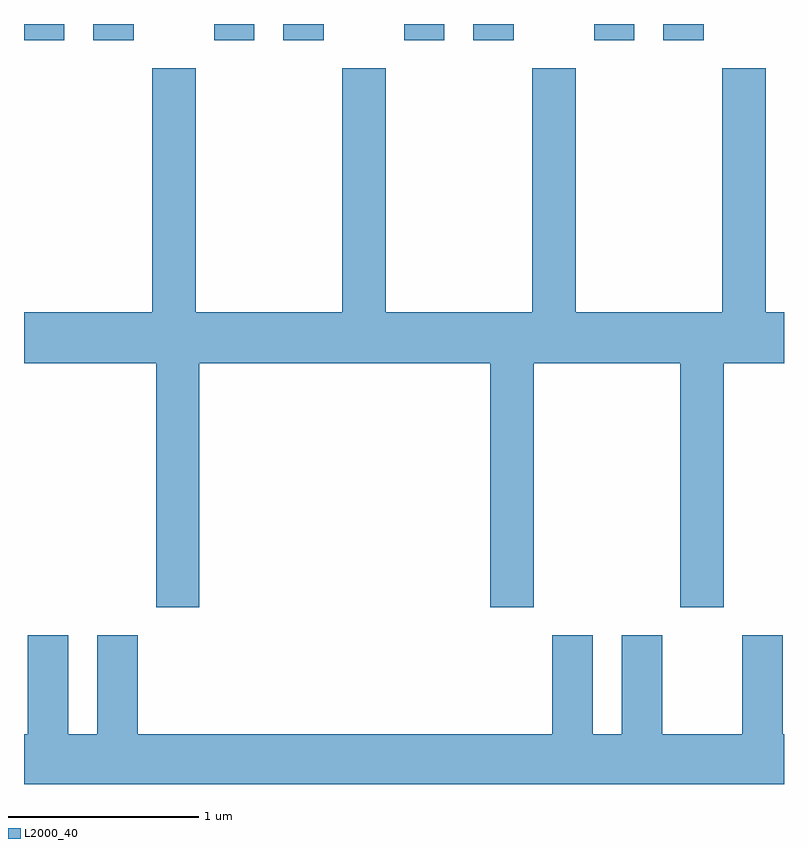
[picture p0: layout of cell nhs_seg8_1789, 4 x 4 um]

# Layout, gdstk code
import gdstk
lib = gdstk.Library(unit=1e-6, precision=1e-09)
def R(c, l, rs):  # rectangles x0, y0, x1, y1
    for r in rs: c.add(gdstk.rectangle(r[:2], r[2:], *l))
def P(c, l, *ps):  # polygons
    for p in ps: c.add(gdstk.Polygon(p, *l))
L2000_40 = (2000, 40)

nhs_seg8_1789 = lib.new_cell('nhs_seg8_1789')
R(nhs_seg8_1789, L2000_40, [(237.611,1920.256,237.824,1920.342), (237.976,1920.256,238.189,1920.342), (238.611,1920.256,238.824,1920.342), (238.976,1920.256,239.189,1920.342), (239.611,1920.256,239.824,1920.342), (239.976,1920.256,240.189,1920.342), (240.611,1920.256,240.824,1920.342), (240.976,1920.256,241.189,1920.342)])
P(nhs_seg8_1789, L2000_40, [(238.534,1918.556),(240.066,1918.556),(240.066,1917.271),(240.294,1917.271),(240.294,1918.556),(241.066,1918.556),(241.066,1917.271),(241.294,1917.271),(241.294,1918.556),(241.611,1918.556),(241.611,1918.824),(241.514,1918.824),(241.514,1920.109),(241.286,1920.109),(241.286,1918.824),(240.514,1918.824),(240.514,1920.109),(240.286,1920.109),(240.286,1918.824),(239.514,1918.824),(239.514,1920.109),(239.286,1920.109),(239.286,1918.824),(238.514,1918.824),(238.514,1920.109),(238.286,1920.109),(238.286,1918.824),(237.611,1918.824),(237.611,1918.556),(238.306,1918.556),(238.306,1917.271),(238.534,1917.271)],
  [(241.611,1916.604),(241.604,1916.604),(241.604,1917.124),(241.391,1917.124),(241.391,1916.604),(240.969,1916.604),(240.969,1917.124),(240.756,1917.124),(240.756,1916.604),(240.604,1916.604),(240.604,1917.124),(240.391,1917.124),(240.391,1916.604),(238.209,1916.604),(238.209,1917.124),(237.996,1917.124),(237.996,1916.604),(237.844,1916.604),(237.844,1917.124),(237.631,1917.124),(237.631,1916.604),(237.611,1916.604),(237.611,1916.342),(241.611,1916.342)])

lib.write_gds('nhs_seg8_1789.gds')
